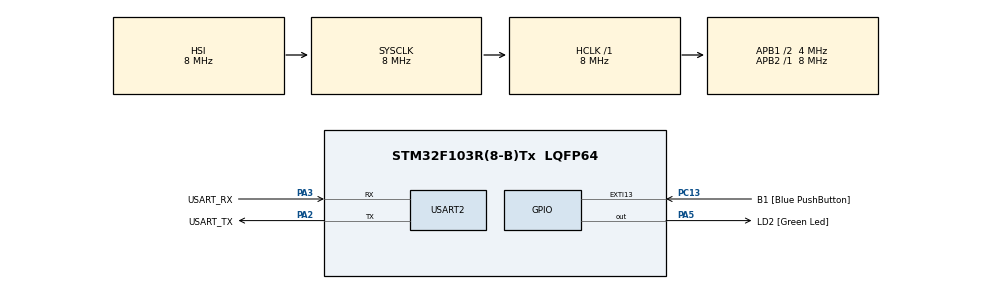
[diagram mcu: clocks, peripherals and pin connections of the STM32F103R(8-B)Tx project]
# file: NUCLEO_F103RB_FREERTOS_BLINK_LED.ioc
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FREERTOS.Tasks01=defaultTask,0,128,StartDefaultTask,Default,NULL,Dynamic,NULL,NULL
Mcu.Family=STM32F1
Mcu.Name=STM32F103R(8-B)Tx
Mcu.Package=LQFP64
NVIC.EXTI15_10_IRQn=true\:5\:0\:false\:false\:true\:true\:true\:true\:true
NVIC.PriorityGroup=NVIC_PRIORITYGROUP_4
NVIC.TIM4_IRQn=true\:15\:0\:false\:false\:true\:false\:false\:true\:true
NVIC.TimeBase=TIM4_IRQn
NVIC.TimeBaseIP=TIM4
NVIC.USART2_IRQn=true\:5\:0\:false\:false\:true\:true\:true\:true\:true
PA13.GPIO_Label=TMS
PA13.Mode=Serial_Wire
PA13.Signal=SYS_JTMS-SWDIO
PA14.GPIO_Label=TCK
PA14.Mode=Serial_Wire
PA14.Signal=SYS_JTCK-SWCLK
PA2.GPIO_Label=USART_TX
PA2.GPIO_Mode=GPIO_MODE_AF_PP
PA2.GPIO_PuPd=GPIO_NOPULL
PA2.GPIO_Speed=GPIO_SPEED_FREQ_LOW
PA2.Mode=Asynchronous
PA2.Signal=USART2_TX
PA3.GPIO_Label=USART_RX
PA3.GPIO_Mode=GPIO_MODE_AF_PP
PA3.GPIO_PuPd=GPIO_NOPULL
PA3.GPIO_Speed=GPIO_SPEED_FREQ_LOW
PA3.Mode=Asynchronous
PA3.Signal=USART2_RX
PA5.GPIO_Label=LD2 [Green Led]
PA5.GPIO_ModeDefaultOutputPP=GPIO_MODE_OUTPUT_PP
PA5.GPIO_PuPd=GPIO_NOPULL
PA5.GPIO_Speed=GPIO_SPEED_FREQ_LOW
PA5.Signal=GPIO_Output
PB3.GPIO_Label=SWO
PB3.Signal=SYS_JTDO-TRACESWO
PC13-TAMPER-RTC.GPIO_Label=B1 [Blue PushButton]
PC13-TAMPER-RTC.GPIO_PuPd=GPIO_NOPULL
PC13-TAMPER-RTC.Signal=GPXTI13
PC14-OSC32_IN.Mode=LSE-External-Oscillator
PC14-OSC32_IN.Signal=RCC_OSC32_IN
PC15-OSC32_OUT.Mode=LSE-External-Oscillator
PC15-OSC32_OUT.Signal=RCC_OSC32_OUT
PD0-OSC_IN.Mode=HSE-External-Clock-Source
PD0-OSC_IN.Signal=RCC_OSC_IN
PD1-OSC_OUT.Mode=HSE-External-Clock-Source
PD1-OSC_OUT.Signal=RCC_OSC_OUT
ProjectManager.HeapSize=0x200
ProjectManager.StackSize=0x400
ProjectManager.TargetToolchain=Makefile
RCC.AHBFreq_Value=8000000
RCC.APB1CLKDivider=RCC_HCLK_DIV2
RCC.APB1Freq_Value=4000000
RCC.APB1TimFreq_Value=8000000
RCC.APB2Freq_Value=8000000
RCC.APB2TimFreq_Value=8000000
RCC.HCLKFreq_Value=8000000
RCC.PLLMUL=RCC_PLL_MUL16
RCC.RTCClockSelection=RCC_RTCCLKSOURCE_LSE
RCC.SYSCLKFreq_VALUE=8000000
RCC.USBFreq_Value=64000000
USART2.VirtualMode=VM_ASYNC
VP_FREERTOS_VS_CMSIS_V1.Mode=CMSIS_V1
VP_SYS_VS_tim4.Mode=TIM4
board=NUCLEO-F103RB

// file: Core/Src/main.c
/* USER CODE BEGIN Header */
/**
  ******************************************************************************
  * @file           : main.c
  * @brief          : Main program body
  ******************************************************************************
  * @attention
  *
  * Copyright (c) 2023 STMicroelectronics.
  * All rights reserved.
  *
  * This software is licensed under terms that can be found in the LICENSE file
  * in the root directory of this software component.
  * If no LICENSE file comes with this software, it is provided AS-IS.
  *
  ******************************************************************************
  */
/* USER CODE END Header */
#include "main.h"
#include "usart.h"
#include "gpio.h"

/* USER CODE BEGIN Includes */
#include "FreeRTOS.h"
#include "FreeRTOSConfig.h"
#include "task.h"

/* USER CODE END Includes */

/* USER CODE BEGIN PV */
TaskHandle_t xTaskHandleBlinkLED = NULL;

/* USER CODE END PV */

void SystemClock_Config(void);
/* USER CODE BEGIN PFP */
void vTaskBlinkLED_handler(void *params);

/* USER CODE END PFP */

int main(void)
{

  /* MCU Configuration--------------------------------------------------------*/

  /* Reset of all peripherals, Initializes the Flash interface and the Systick. */
  HAL_Init();

  /* Configure the system clock */
  SystemClock_Config();

  /* Initialize all configured peripherals */
  MX_GPIO_Init();
  MX_USART2_UART_Init();
  /* USER CODE BEGIN 2 */
  xTaskCreate(  vTaskBlinkLED_handler,
                "Task-Blink-LED",
                configMINIMAL_STACK_SIZE,
                NULL,
                6,
                &xTaskHandleBlinkLED  );

  /* USER CODE END 2 */

  /* Start scheduler */
  vTaskStartScheduler();

  /* We should never get here as control is now taken by the scheduler */
  /* Infinite loop */
  while (1)
  {

  }
}

void SystemClock_Config(void)
{
  RCC_OscInitTypeDef RCC_OscInitStruct = {0};
  RCC_ClkInitTypeDef RCC_ClkInitStruct = {0};

  /** Initializes the RCC Oscillators according to the specified parameters
  * in the RCC_OscInitTypeDef structure.
  */
  RCC_OscInitStruct.OscillatorType = RCC_OSCILLATORTYPE_HSI;
  RCC_OscInitStruct.HSIState = RCC_HSI_ON;
  RCC_OscInitStruct.HSICalibrationValue = RCC_HSICALIBRATION_DEFAULT;
  RCC_OscInitStruct.PLL.PLLState = RCC_PLL_NONE;
  if (HAL_RCC_OscConfig(&RCC_OscInitStruct) != HAL_OK)
  {
    Error_Handler();
  }

  /** Initializes the CPU, AHB and APB buses clocks
  */
  RCC_ClkInitStruct.ClockType = RCC_CLOCKTYPE_HCLK|RCC_CLOCKTYPE_SYSCLK
                              |RCC_CLOCKTYPE_PCLK1|RCC_CLOCKTYPE_PCLK2;
  RCC_ClkInitStruct.SYSCLKSource = RCC_SYSCLKSOURCE_HSI;
  RCC_ClkInitStruct.AHBCLKDivider = RCC_SYSCLK_DIV1;
  RCC_ClkInitStruct.APB1CLKDivider = RCC_HCLK_DIV2;
  RCC_ClkInitStruct.APB2CLKDivider = RCC_HCLK_DIV1;

  if (HAL_RCC_ClockConfig(&RCC_ClkInitStruct, FLASH_LATENCY_0) != HAL_OK)
  {
    Error_Handler();
  }
}

/* USER CODE BEGIN 4 */
void vTaskBlinkLED_handler(void *params)
{
  while(1) {
    HAL_GPIO_TogglePin(LD2_GPIO_Port, LD2_Pin);
    vTaskDelay(pdMS_TO_TICKS(1000));
  }
}

/* configUSE_STATIC_ALLOCATION is set to 1, so the application must provide an
 * implementation of vApplicationGetIdleTaskMemory() to provide the memory that is
 * used by the Idle task. */
void vApplicationGetIdleTaskMemory( StaticTask_t ** ppxIdleTaskTCBBuffer,
                                    StackType_t ** ppxIdleTaskStackBuffer,
                                    uint32_t * pulIdleTaskStackSize )
{
    /* If the buffers to be provided to the Idle task are declared inside this
     * function then they must be declared static - otherwise they will be allocated on
     * the stack and so not exists after this function exits. */
    static StaticTask_t xIdleTaskTCB;
    static StackType_t uxIdleTaskStack[ configMINIMAL_STACK_SIZE ];

    /* Pass out a pointer to the StaticTask_t structure in which the Idle
     * task's state will be stored. */
    *ppxIdleTaskTCBBuffer = &xIdleTaskTCB;

    /* Pass out the array that will be used as the Idle task's stack. */
    *ppxIdleTaskStackBuffer = uxIdleTaskStack;

    /* Pass out the size of the array pointed to by *ppxIdleTaskStackBuffer.
     * Note that, as the array is necessarily of type StackType_t,
     * configMINIMAL_STACK_SIZE is specified in words, not bytes. */
    *pulIdleTaskStackSize = configMINIMAL_STACK_SIZE;
}

/* USER CODE END 4 */

void HAL_TIM_PeriodElapsedCallback(TIM_HandleTypeDef *htim)
{
  if (htim->Instance == TIM4) {
    HAL_IncTick();
  }
}

void Error_Handler(void)
{
  __disable_irq();
  while (1)
  {
  }
}
